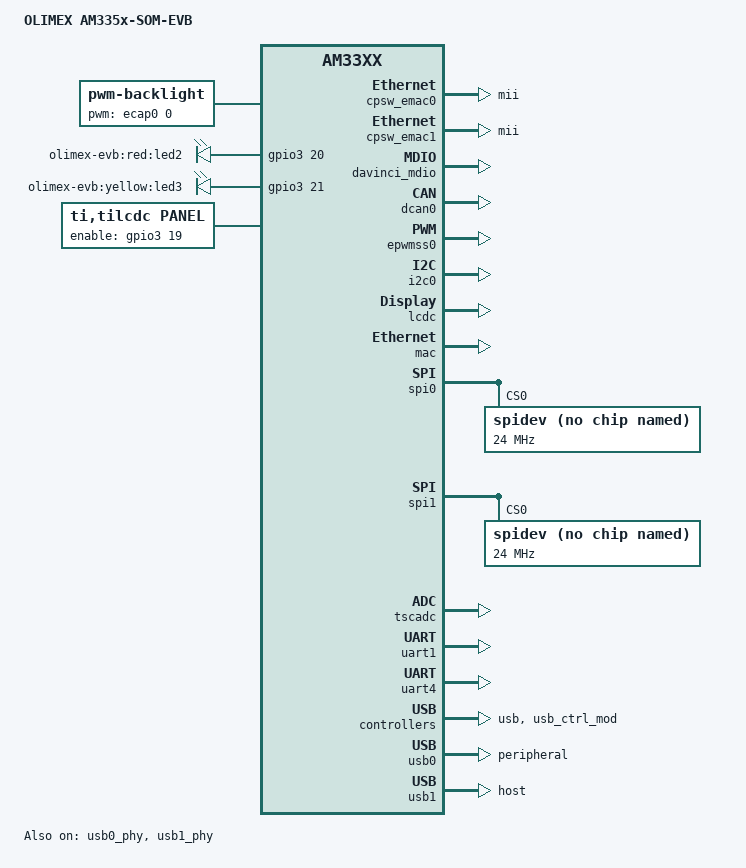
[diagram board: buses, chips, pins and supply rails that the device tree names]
/*
 * Copyright (C) 2012 Texas Instruments Incorporated - http://www.ti.com/
 *
 * This program is free software; you can redistribute it and/or modify
 * it under the terms of the GNU General Public License version 2 as
 * published by the Free Software Foundation.
 */
/dts-v1/;

#include "am335x-olimex.dtsi"

/ {
	model = "OLIMEX AM335x-SOM-EVB";
	compatible = "olimex,am335x_som_evb", "ti,am33xx";

	backlight: backlight {
		compatible = "pwm-backlight";
		pwms = <&ecap0 0 50000 1>;
		brightness-levels = <0 51 53 56 62 75 101 152 255>;
		default-brightness-level = <8>;
	};

	leds {
		pinctrl-names = "default";
		pinctrl-0 = <&evb_leds_pins_default>;

		compatible = "gpio-leds";

		led@1 {
			label = "olimex-evb:red:led2";
			gpios = <&gpio3 20 GPIO_ACTIVE_HIGH>;
			linux,default-trigger = "mmc0";
			default-state = "off";
		};

		led@2 {
			label = "olimex-evb:yellow:led3";
			gpios = <&gpio3 21 GPIO_ACTIVE_HIGH>;
			linux,default-trigger = "cpu0";
			default-state = "off";
		};

	};

	panel {
		compatible = "ti,tilcdc,panel";
		status = "okay";
		pinctrl-names = "default";
		pinctrl-0 = <&lcd_pins_default>;
		enable-gpios = <&gpio3 19 0>;

		panel-info {
			ac-bias = <255>;
			ac-bias-intrpt = <0>;
			dma-burst-sz = <16>;
			bpp = <16>;
			fdd = <0x80>;
			sync-edge = <0>;
			sync-ctrl = <1>;
			raster-order = <0>;
			fifo-th = <0>;
		};

		display-timings {
			native-mode = <&timing2>;

			timing0: 480x272 {
				clock-frequency = <9000000>;
				hactive = <480>;
				vactive = <272>;
				hfront-porch = <525>;
				hback-porch = <8>;
				vfront-porch = <576>;
				vback-porch = <8>;
				hsync-len = <30>;
				vsync-len = <5>;
				hsync-active = <0>;
				vsync-active = <0>;
			};

			timing1: 800x480 {
				clock-frequency = <33000000>;
				hactive = <800>;
				vactive = <480>;
				hfront-porch = <209>;
				hback-porch = <16>;
				vfront-porch = <22>;
				vback-porch = <22>;
				hsync-len = <30>;
				vsync-len = <1>;
				hsync-active = <0>;
				vsync-active = <0>;
			};

			timing2: 800x600 {
				clock-frequency = <40000000>;
				hactive = <800>;
				vactive = <600>;
				hfront-porch = <44>;
				hback-porch = <88>;
				vfront-porch = <5>;
				vback-porch = <19>;
				hsync-len = <128>;
				vsync-len = <4>;
				hsync-active = <0>;
				vsync-active = <0>;
			};

			timing3: 1024x600 {
				clock-frequency = <45000000>;
				hactive = <1024>;
				vactive = <600>;
				hfront-porch = <16>;
				hback-porch = <150>;
				vfront-porch = <2>;
				vback-porch = <21>;
				hsync-len = <10>;
				vsync-len = <2>;
				hsync-active = <0>;
				vsync-active = <0>;
			};
		};
	};
};

&am33xx_pinmux{

	backlight_pins_default: backlight_pins_default {
		pinctrl-single,pins = <
			0x164 ( PIN_OUTPUT | MUX_MODE0 ) /* (C18) eCAP0_in_PWM0_out.eCAP0_in_PWM0_out */
		>;
	};

	dcan0_pins_default: dcan0_pins_default {
		pinctrl-single,pins = <
			0x17c ( PIN_INPUT | MUX_MODE2 ) /* (D17) uart1_rtsn.dcan0_rx */
			0x178 ( PIN_OUTPUT | MUX_MODE2 ) /* (D18) uart1_ctsn.dcan0_tx */
		>;
	};

	evb_leds_pins_default: evb_leds_pins_default {
		pinctrl-single,pins = <
			0x1a8 ( PIN_OUTPUT | MUX_MODE7 ) /* (D13) mcasp0_axr1.gpio3[20] */
			0x1ac ( PIN_OUTPUT | MUX_MODE7 ) /* (A14) mcasp0_ahclkx.gpio3[21] */
		>;
	};

	i2c0_pins_default: i2c0_pins_default {
		pinctrl-single,pins = <
			0x18c ( PIN_INPUT | MUX_MODE0 ) /* (C16) I2C0_SCL.I2C0_SCL */
			0x188 ( PIN_INPUT | MUX_MODE0 ) /* (C17) I2C0_SDA.I2C0_SDA */
		>;
	};

	mdio_pins_default: mdio_pins_default {
		pinctrl-single,pins = <
			0x14c ( PIN_OUTPUT | MUX_MODE0 ) /* (M18) mdio_clk.mdio_clk */
			0x148 ( PIN_INPUT | MUX_MODE0 ) /* (M17) mdio_data.mdio_data */
		>;
	};

	lcd_pins_default: lcd_pins_default {
		pinctrl-single,pins = <
			0xe0 ( PIN_OUTPUT | MUX_MODE0 ) /* (U5) lcd_vsync.lcd_vsync */
			0xe4 ( PIN_OUTPUT | MUX_MODE0 ) /* (R5) lcd_hsync.lcd_hsync */
			0xe8 ( PIN_OUTPUT | MUX_MODE0 ) /* (V5) lcd_pclk.lcd_pclk */
			0xec ( PIN_OUTPUT | MUX_MODE0 ) /* (R6) lcd_ac_bias_en.lcd_ac_bias_en */
			0xa0 ( PIN_OUTPUT | MUX_MODE0 ) /* (R1) lcd_data0.lcd_data0 */
			0xa4 ( PIN_OUTPUT | MUX_MODE0 ) /* (R2) lcd_data1.lcd_data1 */
			0xa8 ( PIN_OUTPUT | MUX_MODE0 ) /* (R3) lcd_data2.lcd_data2 */
			0xac ( PIN_OUTPUT | MUX_MODE0 ) /* (R4) lcd_data3.lcd_data3 */
			0xb0 ( PIN_OUTPUT | MUX_MODE0 ) /* (T1) lcd_data4.lcd_data4 */
			0xb4 ( PIN_OUTPUT | MUX_MODE0 ) /* (T2) lcd_data5.lcd_data5 */
			0xb8 ( PIN_OUTPUT | MUX_MODE0 ) /* (T3) lcd_data6.lcd_data6 */
			0xbc ( PIN_OUTPUT | MUX_MODE0 ) /* (T4) lcd_data7.lcd_data7 */
			0xc0 ( PIN_OUTPUT | MUX_MODE0 ) /* (U1) lcd_data8.lcd_data8 */
			0xc4 ( PIN_OUTPUT | MUX_MODE0 ) /* (U2) lcd_data9.lcd_data9 */
			0xc8 ( PIN_OUTPUT | MUX_MODE0 ) /* (U3) lcd_data10.lcd_data10 */
			0xcc ( PIN_OUTPUT | MUX_MODE0 ) /* (U4) lcd_data11.lcd_data11 */
			0xd0 ( PIN_OUTPUT | MUX_MODE0 ) /* (V2) lcd_data12.lcd_data12 */
			0xd4 ( PIN_OUTPUT | MUX_MODE0 ) /* (V3) lcd_data13.lcd_data13 */
			0xd8 ( PIN_OUTPUT | MUX_MODE0 ) /* (V4) lcd_data14.lcd_data14 */
			0xdc ( PIN_OUTPUT | MUX_MODE0 ) /* (T5) lcd_data15.lcd_data15 */
			0x3c ( PIN_OUTPUT | MUX_MODE1 ) /* (U13) gpmc_ad15.lcd_data16 */
			0x38 ( PIN_OUTPUT | MUX_MODE1 ) /* (V13) gpmc_ad14.lcd_data17 */
			0x34 ( PIN_OUTPUT | MUX_MODE1 ) /* (R12) gpmc_ad13.lcd_data18 */
			0x30 ( PIN_OUTPUT | MUX_MODE1 ) /* (T12) gpmc_ad12.lcd_data19 */
			0x2c ( PIN_OUTPUT | MUX_MODE1 ) /* (U12) gpmc_ad11.lcd_data20 */
			0x28 ( PIN_OUTPUT | MUX_MODE1 ) /* (T11) gpmc_ad10.lcd_data21 */
			0x24 ( PIN_OUTPUT | MUX_MODE1 ) /* (T10) gpmc_ad9.lcd_data22 */
			0x20 ( PIN_OUTPUT | MUX_MODE1 ) /* (U10) gpmc_ad8.lcd_data23 */
		>;
	};

	phy1_pins_default: phy1_pins_default {
		pinctrl-single,pins = <
			0x108 ( PIN_INPUT | MUX_MODE0 ) /* (H16) gmii1_col.gmii1_col */
			0x10c ( PIN_INPUT | MUX_MODE0 ) /* (H17) gmii1_crs.gmii1_crs */
			0x110 ( PIN_INPUT_PULLUP | MUX_MODE0 ) /* (J15) gmii1_rxer.gmii1_rxer */
			0x114 ( PIN_OUTPUT_PULLDOWN | MUX_MODE0 ) /* (J16) gmii1_txen.gmii1_txen */
			0x118 ( PIN_INPUT_PULLUP | MUX_MODE0 ) /* (J17) gmii1_rxdv.gmii1_rxdv */
			0x12c ( PIN_INPUT_PULLUP | MUX_MODE0 ) /* (K18) gmii1_txclk.gmii1_txclk */
			0x130 ( PIN_INPUT_PULLUP | MUX_MODE0 ) /* (L18) gmii1_rxclk.gmii1_rxclk */
			0x128 ( PIN_OUTPUT_PULLDOWN | MUX_MODE0 ) /* (K17) gmii1_txd0.gmii1_txd0 */
			0x124 ( PIN_OUTPUT_PULLDOWN | MUX_MODE0 ) /* (K16) gmii1_txd1.gmii1_txd1 */
			0x120 ( PIN_OUTPUT_PULLDOWN | MUX_MODE0 ) /* (K15) gmii1_txd2.gmii1_txd2 */
			0x11c ( PIN_OUTPUT_PULLDOWN | MUX_MODE0 ) /* (J18) gmii1_txd3.gmii1_txd3 */
			0x140 ( PIN_INPUT | MUX_MODE0 ) /* (M16) gmii1_rxd0.gmii1_rxd0 */
			0x13c ( PIN_INPUT | MUX_MODE0 ) /* (L15) gmii1_rxd1.gmii1_rxd1 */
			0x138 ( PIN_INPUT_PULLUP | MUX_MODE0 ) /* (L16) gmii1_rxd2.gmii1_rxd2 */
			0x134 ( PIN_INPUT_PULLUP | MUX_MODE0 ) /* (L17) gmii1_rxd3.gmii1_rxd3 */
		>;
	};

	phy2_pins_default: phy2_pins_default {
		pinctrl-single,pins = <
			0x78 ( PIN_INPUT | MUX_MODE1 ) /* (U18) gpmc_be1n.gmii2_col */
			0x70 ( PIN_INPUT | MUX_MODE1 ) /* (T17) gpmc_wait0.gmii2_crs */
			0x74 ( PIN_INPUT_PULLUP | MUX_MODE1 ) /* (U17) gpmc_wpn.gmii2_rxer */
			0x40 ( PIN_OUTPUT_PULLDOWN | MUX_MODE1 ) /* (R13) gpmc_a0.gmii2_txen */
			0x44 ( PIN_INPUT_PULLUP | MUX_MODE1 ) /* (V14) gpmc_a1.gmii2_rxdv */
			0x58 ( PIN_INPUT_PULLUP | MUX_MODE1 ) /* (U15) gpmc_a6.gmii2_txclk */
			0x5c ( PIN_INPUT_PULLUP | MUX_MODE1 ) /* (T15) gpmc_a7.gmii2_rxclk */
			0x54 ( PIN_OUTPUT_PULLDOWN | MUX_MODE1 ) /* (V15) gpmc_a5.gmii2_txd0 */
			0x50 ( PIN_OUTPUT_PULLDOWN | MUX_MODE1 ) /* (R14) gpmc_a4.gmii2_txd1 */
			0x4c ( PIN_OUTPUT_PULLDOWN | MUX_MODE1 ) /* (T14) gpmc_a3.gmii2_txd2 */
			0x48 ( PIN_OUTPUT_PULLDOWN | MUX_MODE1 ) /* (U14) gpmc_a2.gmii2_txd3 */
			0x6c ( PIN_INPUT | MUX_MODE1 ) /* (V17) gpmc_a11.gmii2_rxd0 */
			0x68 ( PIN_INPUT | MUX_MODE1 ) /* (T16) gpmc_a10.gmii2_rxd1 */
			0x64 ( PIN_INPUT_PULLUP | MUX_MODE1 ) /* (U16) gpmc_a9.gmii2_rxd2 */
			0x60 ( PIN_INPUT_PULLUP | MUX_MODE1 ) /* (V16) gpmc_a8.gmii2_rxd3 */
		>;
	};

	spi0_pins_default: spi0_pins_default {
		pinctrl-single,pins = <
			0x150 ( PIN_INPUT | MUX_MODE0 ) /* (A17) spi0_sclk.spi0_sclk */
			0x154 ( PIN_INPUT | MUX_MODE0 ) /* (B17) spi0_d0.spi0_d0 */
			0x158 ( PIN_OUTPUT | MUX_MODE0 ) /* (B16) spi0_d1.spi0_d1 */
			0x15c ( PIN_OUTPUT | MUX_MODE0 ) /* (A16) spi0_cs0.spi0_cs0 */
		>;
	};

	spi1_pins_default: spi1_pins_default {
		pinctrl-single,pins = <
			0x190 ( PIN_INPUT | MUX_MODE3 ) /* (A13) mcasp0_aclkx.spi1_sclk */
			0x194 ( PIN_INPUT | MUX_MODE3 ) /* (B13) mcasp0_fsx.spi1_d0 */
			0x198 ( PIN_OUTPUT | MUX_MODE3 ) /* (D12) mcasp0_axr0.spi1_d1 */
			0x19c ( PIN_OUTPUT | MUX_MODE3 ) /* (C12) mcasp0_ahclkr.spi1_cs0 */
		>;
	};

	uart1_pins_default: uart1_pins_default {
		pinctrl-single,pins = <
			0x180 ( PIN_INPUT_PULLUP | MUX_MODE0 ) /* (D16) uart1_rxd.uart1_rxd */
			0x184 ( PIN_OUTPUT | MUX_MODE0 ) /* (D15) uart1_txd.uart1_txd */
		>;
	};

	uart4_pins_default: uart4_pins_default {
		pinctrl-single,pins = <
			0x168 ( PIN_INPUT_PULLUP | MUX_MODE1 ) /* (E18) uart0_ctsn.uart4_rxd */
			0x16c ( PIN_OUTPUT | MUX_MODE1 ) /* (E17) uart0_rtsn.uart4_txd */
		>;
	};

	usb0_pins_default: usb0_pins_default {
		pinctrl-single,pins = <
			0x21c ( PIN_OUTPUT | MUX_MODE0 ) /* (F16) USB0_DRVVBUS.USB0_DRVVBUS */
		>;
	};
};

&cppi41dma  {
	status = "okay";
};

&cpsw_emac0 {
	status = "okay";
	phy_id = <&davinci_mdio>, <0>;
	phy-mode = "mii";
	dual_emac_res_vlan = <1>;
};

&cpsw_emac1 {
	status = "okay";
	phy_id = <&davinci_mdio>, <1>;
	phy-mode = "mii";
	dual_emac_res_vlan = <2>;
};

&davinci_mdio {
	status = "okay";
	pinctrl-names = "default";
	pinctrl-0 = <&mdio_pins_default>;
};

&dcan0 {
	pinctrl-names = "default";
	pinctrl-0 = <&dcan0_pins_default>;
	status = "okay";
};

&epwmss0 {
	status = "okay";
	ecap0: ecap@48300100 {
		status = "okay";
		pinctrl-names = "default";
		pinctrl-0 = <&backlight_pins_default>;
	};
};

&i2c0 {
	pinctrl-names = "default";
	pinctrl-0 = <&i2c0_pins_default>;
	status = "okay";
};

&lcdc {
	status = "okay";
};

&mac {
	status = "okay";
	pinctrl-names = "default";
	pinctrl-0 = <&phy1_pins_default>,<&phy2_pins_default>;
	dual_emac = <1>;
};

&spi0 {
	status = "okay";
	pinctrl-names = "default";
	pinctrl-0 = <&spi0_pins_default>;

	spidev@0 {
		spi-max-frequency = <24000000>;
		reg = <0>;
		compatible = "linux,spidev";
	};
};

&spi1 {
	status = "okay";
	pinctrl-names = "default";
	pinctrl-0 = <&spi1_pins_default>;

	spidev@0 {
		spi-max-frequency = <24000000>;
		reg = <0>;
		compatible = "linux,spidev";
	};
};

&tscadc {
	status = "okay";
	tsc {
		ti,wires = <4>;
		ti,x-plate-resistance = <200>;
		ti,coordinate-readouts = <5>;
		ti,wire-config = <0x00 0x11 0x22 0x33>;
	};
	adc {
		ti,adc-channels = <0 1 2 3>;
	};
};

&uart1 {
	pinctrl-names = "default";
	pinctrl-0 = <&uart1_pins_default>;
	status = "okay";
};

&uart4 {
	pinctrl-names = "default";
	pinctrl-0 = <&uart4_pins_default>;
	status = "okay";
};

&usb {
	status = "okay";
};

&usb_ctrl_mod {
	status = "okay";
};

&usb0_phy {
	status = "okay";
};

&usb0 {
	status = "okay";
	dr_mode = "peripheral";
};

&usb1_phy {
	status = "okay";
};

&usb1 {
	status = "okay";
	dr_mode = "host";
};
